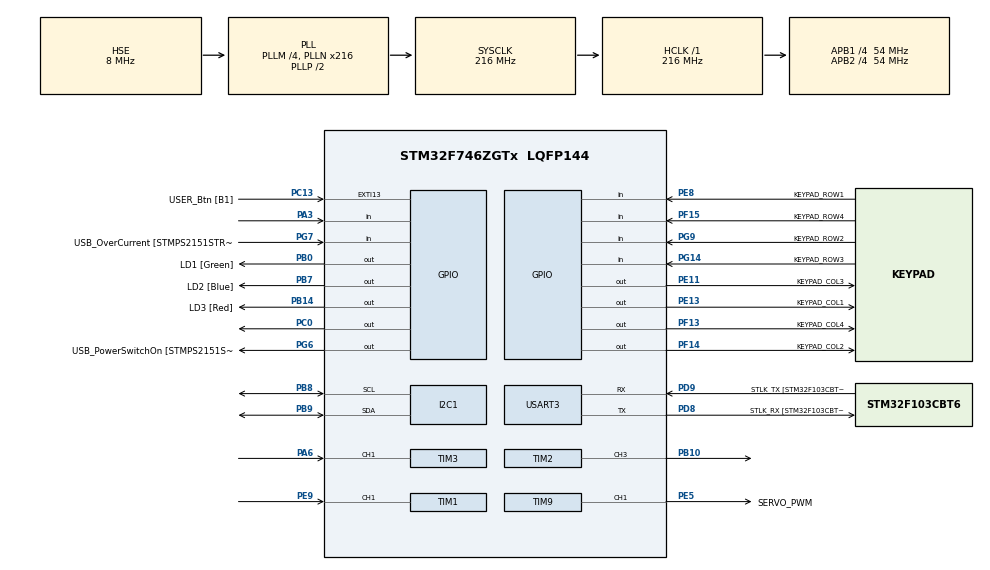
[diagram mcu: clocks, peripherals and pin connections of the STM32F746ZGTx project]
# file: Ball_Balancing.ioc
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I2C1.Timing=0x20404768
Mcu.Family=STM32F7
Mcu.Name=STM32F746ZGTx
Mcu.Package=LQFP144
NVIC.PriorityGroup=NVIC_PRIORITYGROUP_4
NVIC.TIM1_CC_IRQn=true\:0\:0\:false\:false\:true\:true\:true\:true
NVIC.TIM3_IRQn=true\:0\:0\:false\:false\:true\:true\:true\:true
NVIC.USART3_IRQn=true\:0\:0\:false\:false\:true\:true\:true\:true
PA1.GPIO_Label=RMII_REF_CLK [LAN8742A-CZ-TR_REFCLK0]
PA1.Signal=ETH_REF_CLK
PA10.GPIO_Label=USB_ID
PA10.Signal=USB_OTG_FS_ID
PA11.GPIO_Label=USB_DM
PA11.Signal=USB_OTG_FS_DM
PA12.GPIO_Label=USB_DP
PA12.Signal=USB_OTG_FS_DP
PA13.GPIO_Label=TMS
PA13.Mode=Serial_Wire
PA13.Signal=SYS_JTMS-SWDIO
PA14.GPIO_Label=TCK
PA14.Mode=Serial_Wire
PA14.Signal=SYS_JTCK-SWCLK
PA2.GPIO_Label=RMII_MDIO [LAN8742A-CZ-TR_MDIO]
PA2.Signal=ETH_MDIO
PA3.Signal=GPIO_Input
PA6.Signal=S_TIM3_CH1
PA7.GPIO_Label=RMII_CRS_DV [LAN8742A-CZ-TR_CRS_DV]
PA7.Signal=ETH_CRS_DV
PA8.GPIO_Label=USB_SOF [TP1]
PA8.Signal=USB_OTG_FS_SOF
PA9.GPIO_Label=USB_VBUS
PA9.Signal=USB_OTG_FS_VBUS
PB0.GPIO_Label=LD1 [Green]
PB0.Signal=GPIO_Output
PB10.Signal=S_TIM2_CH3
PB13.GPIO_Label=RMII_TXD1 [LAN8742A-CZ-TR_TXD1]
PB13.Signal=ETH_TXD1
PB14.GPIO_Label=LD3 [Red]
PB14.Signal=GPIO_Output
PB3.GPIO_Label=SW0
PB3.Signal=SYS_JTDO-SWO
PB7.GPIO_Label=LD2 [Blue]
PB7.Signal=GPIO_Output
PB8.Mode=I2C
PB8.Signal=I2C1_SCL
PB9.Mode=I2C
PB9.Signal=I2C1_SDA
PC0.Signal=GPIO_Output
PC1.GPIO_Label=RMII_MDC [LAN8742A-CZ-TR_MDC]
PC1.Signal=ETH_MDC
PC13.GPIO_Label=USER_Btn [B1]
PC13.Signal=GPXTI13
PC14/OSC32_IN.Mode=LSE-External-Oscillator
PC14/OSC32_IN.Signal=RCC_OSC32_IN
PC15/OSC32_OUT.Mode=LSE-External-Oscillator
PC15/OSC32_OUT.Signal=RCC_OSC32_OUT
PC4.GPIO_Label=RMII_RXD0 [LAN8742A-CZ-TR_RXD0]
PC4.Signal=ETH_RXD0
PC5.GPIO_Label=RMII_RXD1 [LAN8742A-CZ-TR_RXD1]
PC5.Signal=ETH_RXD1
PD8.GPIO_Label=STLK_RX [STM32F103CBT6_PA3]
PD8.GPIO_PuPd=GPIO_PULLUP
PD8.Mode=Asynchronous
PD8.Signal=USART3_TX
PD9.GPIO_Label=STLK_TX [STM32F103CBT6_PA2]
PD9.GPIO_PuPd=GPIO_PULLUP
PD9.Mode=Asynchronous
PD9.Signal=USART3_RX
PE11.GPIO_Label=KEYPAD_COL3
PE11.GPIO_PuPd=GPIO_PULLUP
PE11.Signal=GPIO_Output
PE13.GPIO_Label=KEYPAD_COL1
PE13.Signal=GPIO_Output
PE5.GPIO_Label=SERVO_PWM
PE5.Signal=S_TIM9_CH1
PE8.GPIO_Label=KEYPAD_ROW1
PE8.GPIO_PuPd=GPIO_PULLUP
PE8.Signal=GPIO_Input
PE9.Signal=S_TIM1_CH1
PF13.GPIO_Label=KEYPAD_COL4
PF13.GPIO_PuPd=GPIO_NOPULL
PF13.Signal=GPIO_Output
PF14.GPIO_Label=KEYPAD_COL2
PF14.Signal=GPIO_Output
PF15.GPIO_Label=KEYPAD_ROW4
PF15.GPIO_PuPd=GPIO_PULLUP
PF15.Signal=GPIO_Input
PG11.GPIO_Label=RMII_TX_EN [LAN8742A-CZ-TR_TXEN]
PG11.Signal=ETH_TX_EN
PG13.GPIO_Label=RMII_TXD0 [LAN8742A-CZ-TR_TXD0]
PG13.Signal=ETH_TXD0
PG14.GPIO_Label=KEYPAD_ROW3
PG14.GPIO_PuPd=GPIO_PULLUP
PG14.Signal=GPIO_Input
PG6.GPIO_Label=USB_PowerSwitchOn [STMPS2151STR_EN]
PG6.Signal=GPIO_Output
PG7.GPIO_Label=USB_OverCurrent [STMPS2151STR_FAULT]
PG7.Signal=GPIO_Input
PG9.GPIO_Label=KEYPAD_ROW2
PG9.GPIO_PuPd=GPIO_PULLUP
PG9.Signal=GPIO_Input
PH0/OSC_IN.GPIO_Label=MCO [STM32F103CBT6_PA8]
PH0/OSC_IN.Mode=HSE-External-Clock-Source
PH0/OSC_IN.Signal=RCC_OSC_IN
PH1/OSC_OUT.Mode=HSE-External-Clock-Source
PH1/OSC_OUT.Signal=RCC_OSC_OUT
ProjectManager.HeapSize=0x200
ProjectManager.StackSize=0x400
ProjectManager.TargetToolchain=STM32CubeIDE
RCC.48MHZClocksFreq_Value=24000000
RCC.AHBFreq_Value=216000000
RCC.APB1CLKDivider=RCC_HCLK_DIV4
RCC.APB1Freq_Value=54000000
RCC.APB1TimFreq_Value=108000000
RCC.APB2CLKDivider=RCC_HCLK_DIV4
RCC.APB2Freq_Value=54000000
RCC.APB2TimFreq_Value=108000000
RCC.CortexFreq_Value=216000000
RCC.HCLKFreq_Value=216000000
RCC.HSE_VALUE=8000000
RCC.HSI_VALUE=16000000
RCC.PLLM=4
RCC.PLLMUL=RCC_PLL_MUL9
RCC.PLLN=216
RCC.PLLQ=9
RCC.PLLSourceVirtual=RCC_PLLSOURCE_HSE
RCC.PRESCALERUSB=RCC_USBCLKSOURCE_PLL_DIV1_5
RCC.SYSCLKFreq_VALUE=216000000
RCC.SYSCLKSource=RCC_SYSCLKSOURCE_PLLCLK
RCC.SYSCLKSourceVirtual=RCC_SYSCLKSOURCE_PLLCLK
RCC.USBFreq_Value=48000000
RCC.VCOOutputFreq_Value=432000000
SH.S_TIM1_CH1.0=TIM1_CH1,PWM_Input_1
SH.S_TIM2_CH3.0=TIM2_CH3,PWM Generation3 CH3
SH.S_TIM3_CH1.0=TIM3_CH1,PWM_Input_1
SH.S_TIM9_CH1.0=TIM9_CH1,PWM Generation1 CH1
TIM1.Prescaler=107
TIM2.Channel-PWM\ Generation3\ CH3=TIM_CHANNEL_3
TIM2.Period=200000-1
TIM2.Prescaler=107
TIM2.Pulse-PWM\ Generation3\ CH3=10
TIM3.Prescaler=107
TIM7.Prescaler=107
TIM9.Channel-PWM\ Generation1\ CH1=TIM_CHANNEL_1
TIM9.Period=19999
TIM9.Prescaler=107
USART3.VirtualMode-Asynchronous=VM_ASYNC
VP_TIM1_VS_ClockSourceINT.Mode=Internal
VP_TIM3_VS_ClockSourceINT.Mode=Internal
VP_TIM7_VS_ClockSourceINT.Mode=Enable_Timer
VP_TIM9_VS_ClockSourceINT.Mode=Internal
board=NUCLEO-F746ZG

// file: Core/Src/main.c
/* USER CODE BEGIN Header */
/**
  ******************************************************************************
  * @file           : main.c
  * @brief          : Main program body
  ******************************************************************************
  * @attention
  *
  * Copyright (c) 2024 STMicroelectronics.
  * All rights reserved.
  *
  * This software is licensed under terms that can be found in the LICENSE file
  * in the root directory of this software component.
  * If no LICENSE file comes with this software, it is provided AS-IS.
  *
  ******************************************************************************
  */
/* USER CODE END Header */
#include "main.h"
#include "i2c.h"
#include "tim.h"
#include "usart.h"
#include "gpio.h"

/* USER CODE BEGIN Includes */
#include <string.h>
#include <stdlib.h>
#include "Servo.h"
#include "stdlib.h"
#include "stm32f7xx_hal.h"
#include "hcsr04_sensor.h"
#include "PID_controller.h"
#include "lcd.h"
#include "lcd_config.h"
#include "Keypad.h"

/* USER CODE END Includes */

/* USER CODE BEGIN PV */

float tx_us = 0;     // Time in microseconds
float dx_cm = 0;     // Distance for sensor 1 in centimeters
float dx_cm2 = 0;     // Distance for sensor 2 in centimeters
int position = 0.00; // Position of the ball

int setP = 0;

char KeyPad_Buffer[2];
unsigned char character;
unsigned int user_len= 2;
unsigned int i = 0;
int result;
char num;

// Components //

// Sensors
struct us_sensor_str distance_sensor;
struct us_sensor_str distance_sensor2;

// Servos
SERVO_Handle_TypeDef hservo1 = { .PwmOut = PWM_INIT_HANDLE(&htim9, TIM_CHANNEL_1) };

// Buffers //
uint8_t rxBuffer[2];      //receive buffer
char position_buffer[5];
uint8_t tx_buffer[4];
const int tx_msg_len = 3;    //user message lenght
char text[1];

/* USER CODE END PV */

void SystemClock_Config(void);
/* USER CODE BEGIN PFP */
void HAL_TIM_PeriodElapsedCallback(TIM_HandleTypeDef *htim)
{

}
/* USER CODE END PFP */

/* USER CODE BEGIN 0 */
/**
  * @brief  Rx Transfer completed callback.
  * @param  huart UART handle.
  * @retval None
  */

/* USER CODE END 0 */

int main(void)
{

  /* MCU Configuration--------------------------------------------------------*/

  /* Reset of all peripherals, Initializes the Flash interface and the Systick. */
  HAL_Init();

  /* Configure the system clock */
  SystemClock_Config();

  /* Initialize all configured peripherals */
  MX_GPIO_Init();
  MX_USART3_UART_Init();
  MX_TIM1_Init();
  MX_TIM9_Init();
  MX_TIM2_Init();
  MX_TIM3_Init();
  MX_I2C1_Init();
  MX_TIM7_Init();
  /* USER CODE BEGIN 2 */

  // Start Sensor 1 & 2
  hc_sr04_init(&distance_sensor, &htim1, &htim2, TIM_CHANNEL_3);
  hc_sr04_init(&distance_sensor2, &htim3, &htim2, TIM_CHANNEL_3);

  // Start Servos
  SERVO_Init(&hservo1);
  SERVO_WritePosition(&hservo1, 90.0f);

 // Start LCD and set up GUI
  LCD_I2C_Init(&hlcd3);
  LCD_I2C_SetCursor(&hlcd3, 0, 0);
  LCD_I2C_printStr(&hlcd3, "Position: ");    //Display "Position:" in the first row

  LCD_I2C_SetCursor(&hlcd3, 0, 13);
  LCD_I2C_printStr(&hlcd3, "cm");            //Display "cm" in the first row

  LCD_I2C_SetCursor(&hlcd3, 1, 0);
  LCD_I2C_printStr(&hlcd3, "Set Point: ");   //Display "cm" in the first row

  LCD_I2C_SetCursor(&hlcd3, 1, 14);
  LCD_I2C_printStr(&hlcd3, "cm");            //Display "cm" in the second row

  KEYPAD_Handle_TypeDef hkeypad = KEYPAD_4x4_INIT_HANDLE(KEYPAD);

  /* USER CODE END 2 */

  /* Infinite loop */
  /* USER CODE BEGIN WHILE */
  while (1)
  {

	   HAL_UART_Receive_IT(&huart3, rxBuffer, 2);       // Call HAL_UART_Receive_IT is waiting for data

	   PID(&hservo1,position,setP);
	   KEYPAD_Handling(&hkeypad,KeyPad_Buffer, 2,&setP);

	  // Send Value of Position to LCD
	  LCD_I2C_SetCursor(&hlcd3, 0, 10);
	  LCD_I2C_printDecInt(&hlcd3, position);          //This is displaying current position and it is changing depending on sensors data

	  // Convert position into string
	  sprintf(position_buffer, "%d\r\n", position);

	  // Transmit position through UART
	  HAL_UART_Transmit(&huart3, (uint8_t*)position_buffer, strlen(position_buffer), 100);

	   //Displays current setP
	  LCD_I2C_SetCursor(&hlcd3, 1, 11);
	  LCD_I2C_printDecInt(&hlcd3, setP);       //Displaying surrent setP, you can change the value of it it from terminal or keypad

	  HAL_Delay(100);

    /* USER CODE END WHILE */

  }
}

void SystemClock_Config(void)
{
  RCC_OscInitTypeDef RCC_OscInitStruct = {0};
  RCC_ClkInitTypeDef RCC_ClkInitStruct = {0};

  /** Configure LSE Drive Capability
  */
  HAL_PWR_EnableBkUpAccess();

  /** Configure the main internal regulator output voltage
  */
  __HAL_RCC_PWR_CLK_ENABLE();
  __HAL_PWR_VOLTAGESCALING_CONFIG(PWR_REGULATOR_VOLTAGE_SCALE1);

  /** Initializes the RCC Oscillators according to the specified parameters
  * in the RCC_OscInitTypeDef structure.
  */
  RCC_OscInitStruct.OscillatorType = RCC_OSCILLATORTYPE_HSE;
  RCC_OscInitStruct.HSEState = RCC_HSE_BYPASS;
  RCC_OscInitStruct.PLL.PLLState = RCC_PLL_ON;
  RCC_OscInitStruct.PLL.PLLSource = RCC_PLLSOURCE_HSE;
  RCC_OscInitStruct.PLL.PLLM = 4;
  RCC_OscInitStruct.PLL.PLLN = 216;
  RCC_OscInitStruct.PLL.PLLP = RCC_PLLP_DIV2;
  RCC_OscInitStruct.PLL.PLLQ = 9;
  if (HAL_RCC_OscConfig(&RCC_OscInitStruct) != HAL_OK)
  {
    Error_Handler();
  }

  /** Activate the Over-Drive mode
  */
  if (HAL_PWREx_EnableOverDrive() != HAL_OK)
  {
    Error_Handler();
  }

  /** Initializes the CPU, AHB and APB buses clocks
  */
  RCC_ClkInitStruct.ClockType = RCC_CLOCKTYPE_HCLK|RCC_CLOCKTYPE_SYSCLK
                              |RCC_CLOCKTYPE_PCLK1|RCC_CLOCKTYPE_PCLK2;
  RCC_ClkInitStruct.SYSCLKSource = RCC_SYSCLKSOURCE_PLLCLK;
  RCC_ClkInitStruct.AHBCLKDivider = RCC_SYSCLK_DIV1;
  RCC_ClkInitStruct.APB1CLKDivider = RCC_HCLK_DIV4;
  RCC_ClkInitStruct.APB2CLKDivider = RCC_HCLK_DIV4;

  if (HAL_RCC_ClockConfig(&RCC_ClkInitStruct, FLASH_LATENCY_7) != HAL_OK)
  {
    Error_Handler();
  }
}

/* USER CODE BEGIN 4 */

//Call back from the terminal for seting the setP
void HAL_UART_RxCpltCallback(UART_HandleTypeDef *huart) {

	UNUSED(huart);
	int set_recive = atoi((char*)rxBuffer);

	if(set_recive >= 10 && set_recive <= 99)
		setP = set_recive;

	else   // Handle the case when set_recive is not a 2-digit number

	    HAL_UART_Receive_IT(huart, rxBuffer, 2);     // Call HAL_UART_Receive_IT again to receive more data
	}

void HAL_TIM_IC_CaptureCallback(TIM_HandleTypeDef *htim)
{
	if(TIM1 == htim->Instance)
	{
		float echo_us;
          // Convert and assign distance
		echo_us = HAL_TIM_ReadCapturedValue(htim, TIM_CHANNEL_2);
		dx_cm = distance_sensor.distance_cm = hc_sr04_convert_us_to_cm(echo_us);
	}

	if(TIM3 == htim->Instance)
	{
		float echo_us;
        // Convert and Assign distance
		echo_us = HAL_TIM_ReadCapturedValue(htim, TIM_CHANNEL_2);
		dx_cm2 = distance_sensor.distance_cm = hc_sr04_convert_us_to_cm(echo_us);
	}

	    // Calculate average distance or perform any other processing
	      position = CalulatePosition(dx_cm, dx_cm2);
		  PID(&hservo1,position,setP);

}

/* USER CODE END 4 */

void Error_Handler(void)
{
  __disable_irq();
  while (1)
  {
  }
}
